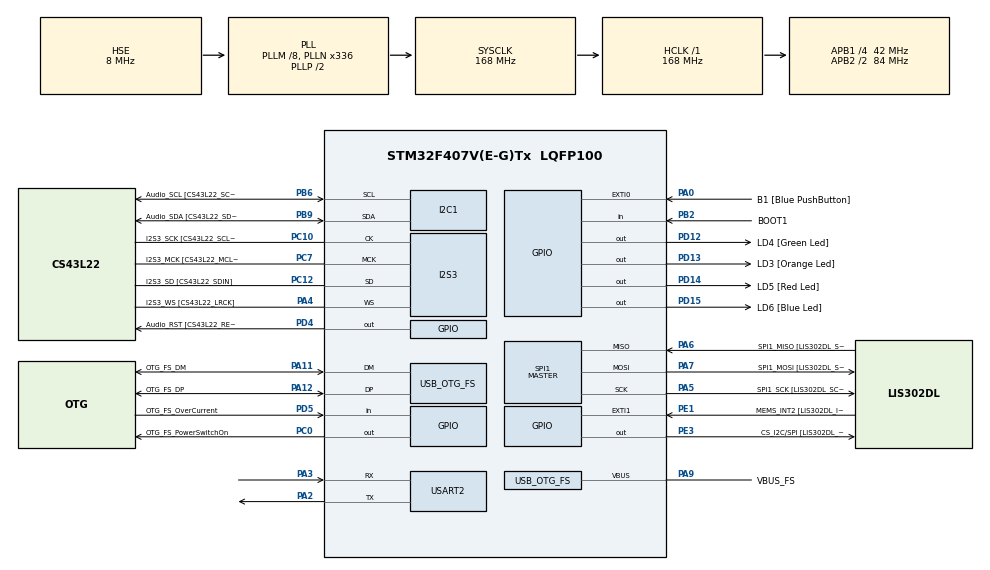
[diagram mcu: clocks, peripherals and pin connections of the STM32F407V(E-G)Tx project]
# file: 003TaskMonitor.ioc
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I2S3.AudioFreq-Half_Duplex_Master=I2S_AUDIOFREQ_96K
I2S3.ErrorAudioFreq=-2.34 %
I2S3.ErrorAudioFreq-Half_Duplex_Master=0.8 %
I2S3.FullDuplexMode=I2S_FULLDUPLEXMODE_DISABLE
I2S3.Instance=SPI$Index
I2S3.RealAudioFreq=93.75 KHz
I2S3.RealAudioFreq-Half_Duplex_Master=96.774 KHz
I2S3.VirtualMode=I2S_MODE_MASTER
Mcu.Family=STM32F4
Mcu.Name=STM32F407V(E-G)Tx
Mcu.Package=LQFP100
NVIC.OTG_FS_IRQn=true\:0\:0\:false\:false\:true\:true\:true
NVIC.PriorityGroup=NVIC_PRIORITYGROUP_4
NVIC.TIM6_DAC_IRQn=true\:0\:0\:false\:false\:true\:false\:true
NVIC.TimeBase=TIM6_DAC_IRQn
NVIC.TimeBaseIP=TIM6
PA0-WKUP.GPIO_Label=B1 [Blue PushButton]
PA0-WKUP.GPIO_ModeDefaultEXTI=GPIO_MODE_EVT_RISING
PA0-WKUP.GPIO_PuPd=GPIO_NOPULL
PA0-WKUP.Signal=GPXTI0
PA10.GPIO_Label=OTG_FS_ID
PA10.GPIO_Mode=GPIO_MODE_AF_PP
PA10.GPIO_PuPd=GPIO_NOPULL
PA10.GPIO_Speed=GPIO_SPEED_FREQ_LOW
PA10.Signal=USB_OTG_FS_ID
PA11.GPIO_Label=OTG_FS_DM
PA11.GPIO_Mode=GPIO_MODE_AF_PP
PA11.GPIO_PuPd=GPIO_NOPULL
PA11.GPIO_Speed=GPIO_SPEED_FREQ_LOW
PA11.Mode=Host_Only
PA11.Signal=USB_OTG_FS_DM
PA12.GPIO_Label=OTG_FS_DP
PA12.GPIO_Mode=GPIO_MODE_AF_PP
PA12.GPIO_PuPd=GPIO_NOPULL
PA12.GPIO_Speed=GPIO_SPEED_FREQ_LOW
PA12.Mode=Host_Only
PA12.Signal=USB_OTG_FS_DP
PA13.GPIO_Label=SWDIO
PA13.Mode=Trace_Asynchronous_SW
PA13.Signal=SYS_JTMS-SWDIO
PA14.GPIO_Label=SWCLK
PA14.Mode=Trace_Asynchronous_SW
PA14.Signal=SYS_JTCK-SWCLK
PA2.Mode=Asynchronous
PA2.Signal=USART2_TX
PA3.Mode=Asynchronous
PA3.Signal=USART2_RX
PA4.GPIO_Label=I2S3_WS [CS43L22_LRCK]
PA4.GPIO_Mode=GPIO_MODE_AF_PP
PA4.GPIO_PuPd=GPIO_NOPULL
PA4.GPIO_Speed=GPIO_SPEED_FREQ_LOW
PA4.Mode=Half_Duplex_Master
PA4.Signal=I2S3_WS
PA5.GPIO_Label=SPI1_SCK [LIS302DL_SCL/SPC]
PA5.GPIO_Mode=GPIO_MODE_AF_PP
PA5.GPIO_PuPd=GPIO_NOPULL
PA5.GPIO_Speed=GPIO_SPEED_FREQ_LOW
PA5.Mode=Full_Duplex_Master
PA5.Signal=SPI1_SCK
PA6.GPIO_Label=SPI1_MISO [LIS302DL_SDO]
PA6.GPIO_Mode=GPIO_MODE_AF_PP
PA6.GPIO_PuPd=GPIO_NOPULL
PA6.GPIO_Speed=GPIO_SPEED_FREQ_LOW
PA6.Mode=Full_Duplex_Master
PA6.Signal=SPI1_MISO
PA7.GPIO_Label=SPI1_MOSI [LIS302DL_SDA/SDI/SDO]
PA7.GPIO_Mode=GPIO_MODE_AF_PP
PA7.GPIO_PuPd=GPIO_NOPULL
PA7.GPIO_Speed=GPIO_SPEED_FREQ_LOW
PA7.Mode=Full_Duplex_Master
PA7.Signal=SPI1_MOSI
PA9.GPIO_Label=VBUS_FS
PA9.GPIO_Mode=GPIO_MODE_INPUT
PA9.GPIO_PuPd=GPIO_NOPULL
PA9.Mode=Activate_VBUS
PA9.Signal=USB_OTG_FS_VBUS
PB10.GPIO_Label=CLK_IN [MP45DT02_CLK]
PB10.GPIO_Mode=GPIO_MODE_AF_PP
PB10.GPIO_PuPd=GPIO_NOPULL
PB10.GPIO_Speed=GPIO_SPEED_FREQ_LOW
PB10.Signal=I2S2_CK
PB2.GPIO_Label=BOOT1
PB2.GPIO_Mode=GPIO_MODE_INPUT
PB2.GPIO_PuPd=GPIO_NOPULL
PB2.Signal=GPIO_Input
PB3.GPIO_Label=SWO
PB3.Mode=Trace_Asynchronous_SW
PB3.Signal=SYS_JTDO-SWO
PB6.GPIO_Label=Audio_SCL [CS43L22_SCL]
PB6.GPIO_Mode=GPIO_MODE_AF_OD
PB6.GPIO_Pu=GPIO_PULLUP
PB6.GPIO_PuPd=GPIO_NOPULL
PB6.GPIO_Speed=GPIO_SPEED_FREQ_LOW
PB6.Mode=I2C
PB6.Signal=I2C1_SCL
PB9.GPIO_Label=Audio_SDA [CS43L22_SDA]
PB9.GPIO_Mode=GPIO_MODE_AF_OD
PB9.GPIO_Pu=GPIO_PULLUP
PB9.GPIO_PuPd=GPIO_NOPULL
PB9.GPIO_Speed=GPIO_SPEED_FREQ_LOW
PB9.Mode=I2C
PB9.Signal=I2C1_SDA
PC0.GPIO_Label=OTG_FS_PowerSwitchOn
PC0.GPIO_PuPd=GPIO_NOPULL
PC0.GPIO_Speed=GPIO_SPEED_FREQ_LOW
PC0.PinState=GPIO_PIN_SET
PC0.Signal=GPIO_Output
PC10.GPIO_Label=I2S3_SCK [CS43L22_SCLK]
PC10.GPIO_Mode=GPIO_MODE_AF_PP
PC10.GPIO_PuPd=GPIO_NOPULL
PC10.GPIO_Speed=GPIO_SPEED_FREQ_LOW
PC10.Mode=Half_Duplex_Master
PC10.Signal=I2S3_CK
PC12.GPIO_Label=I2S3_SD [CS43L22_SDIN]
PC12.GPIO_Mode=GPIO_MODE_AF_PP
PC12.GPIO_PuPd=GPIO_NOPULL
PC12.GPIO_Speed=GPIO_SPEED_FREQ_LOW
PC12.Mode=Half_Duplex_Master
PC12.Signal=I2S3_SD
PC14-OSC32_IN.GPIO_Label=PC14-OSC32_IN
PC14-OSC32_IN.Mode=LSE-External-Oscillator
PC14-OSC32_IN.Signal=RCC_OSC32_IN
PC15-OSC32_OUT.GPIO_Label=PC15-OSC32_OUT
PC15-OSC32_OUT.Mode=LSE-External-Oscillator
PC15-OSC32_OUT.Signal=RCC_OSC32_OUT
PC3.GPIO_Label=PDM_OUT [MP45DT02_DOUT]
PC3.GPIO_Mode=GPIO_MODE_AF_PP
PC3.GPIO_PuPd=GPIO_NOPULL
PC3.GPIO_Speed=GPIO_SPEED_FREQ_LOW
PC3.Signal=I2S2_SD
PC7.GPIO_Label=I2S3_MCK [CS43L22_MCLK]
PC7.GPIO_Mode=GPIO_MODE_AF_PP
PC7.GPIO_PuPd=GPIO_NOPULL
PC7.GPIO_Speed=GPIO_SPEED_FREQ_LOW
PC7.Mode=Master_Clock_Activated
PC7.Signal=I2S3_MCK
PD12.GPIO_Label=LD4 [Green Led]
PD12.GPIO_PuPd=GPIO_NOPULL
PD12.GPIO_Speed=GPIO_SPEED_FREQ_LOW
PD12.Signal=GPIO_Output
PD13.GPIO_Label=LD3 [Orange Led]
PD13.GPIO_PuPd=GPIO_NOPULL
PD13.GPIO_Speed=GPIO_SPEED_FREQ_LOW
PD13.Signal=GPIO_Output
PD14.GPIO_Label=LD5 [Red Led]
PD14.GPIO_PuPd=GPIO_NOPULL
PD14.GPIO_Speed=GPIO_SPEED_FREQ_LOW
PD14.Signal=GPIO_Output
PD15.GPIO_Label=LD6 [Blue Led]
PD15.GPIO_PuPd=GPIO_NOPULL
PD15.GPIO_Speed=GPIO_SPEED_FREQ_LOW
PD15.Signal=GPIO_Output
PD4.GPIO_Label=Audio_RST [CS43L22_RESET]
PD4.GPIO_PuPd=GPIO_NOPULL
PD4.GPIO_Speed=GPIO_SPEED_FREQ_LOW
PD4.Signal=GPIO_Output
PD5.GPIO_Label=OTG_FS_OverCurrent
PD5.GPIO_Mode=GPIO_MODE_INPUT
PD5.GPIO_PuPd=GPIO_NOPULL
PD5.Signal=GPIO_Input
PE1.GPIO_Label=MEMS_INT2 [LIS302DL_INT2]
PE1.GPIO_ModeDefaultEXTI=GPIO_MODE_EVT_RISING
PE1.GPIO_PuPd=GPIO_NOPULL
PE1.Signal=GPXTI1
PE3.GPIO_Label=CS_I2C/SPI [LIS302DL_CS_I2C/SPI]
PE3.GPIO_PuPd=GPIO_NOPULL
PE3.GPIO_Speed=GPIO_SPEED_FREQ_LOW
PE3.Signal=GPIO_Output
PH0-OSC_IN.GPIO_Label=PH0-OSC_IN
PH0-OSC_IN.Mode=HSE-External-Oscillator
PH0-OSC_IN.Signal=RCC_OSC_IN
PH1-OSC_OUT.GPIO_Label=PH1-OSC_OUT
PH1-OSC_OUT.Mode=HSE-External-Oscillator
PH1-OSC_OUT.Signal=RCC_OSC_OUT
ProjectManager.HeapSize=0x200
ProjectManager.StackSize=0x400
ProjectManager.TargetToolchain=STM32CubeIDE
RCC.48MHZClocksFreq_Value=48000000
RCC.AHBFreq_Value=168000000
RCC.APB1CLKDivider=RCC_HCLK_DIV4
RCC.APB1Freq_Value=42000000
RCC.APB1TimFreq_Value=84000000
RCC.APB2CLKDivider=RCC_HCLK_DIV2
RCC.APB2Freq_Value=84000000
RCC.APB2TimFreq_Value=168000000
RCC.CortexFreq_Value=168000000
RCC.HCLKFreq_Value=168000000
RCC.HSE_VALUE=8000000
RCC.HSI_VALUE=16000000
RCC.PLLM=8
RCC.PLLN=336
RCC.PLLQ=7
RCC.SYSCLKFreq_VALUE=168000000
RCC.SYSCLKSource=RCC_SYSCLKSOURCE_PLLCLK
RCC.VCOOutputFreq_Value=336000000
SPI1.BaudRatePrescaler-Full_Duplex_Master=SPI_BAUDRATEPRESCALER_2
SPI1.CalculateBaudRate-Full_Duplex_Master=42.0 MBits/s
SPI1.Direction=SPI_DIRECTION_2LINES
SPI1.Mode=SPI_MODE_MASTER
SPI1.Mode-Full_Duplex_Master=SPI_MODE_MASTER
SPI1.VirtualType=VM_MASTER
USART2.VirtualMode=VM_ASYNC
USB_HOST.BSP.number=1
USB_HOST.USBH_HandleTypeDef-CDC_FS=hUsbHostFS
USB_HOST.VirtualModeFS=Cdc
USB_HOST0.BSP.STBoard=false
USB_HOST0.BSP.api=Unknown
USB_HOST0.BSP.i2caddr=0
USB_HOST0.BSP.i2creg=0
USB_HOST0.BSP.instance=PC0
USB_HOST0.BSP.ip=GPIO
USB_HOST0.BSP.mode=Output
USB_HOST0.BSP.name=Drive_VBUS_FS
USB_HOST0.BSP.solution=PC0
USB_OTG_FS.VirtualMode=Host_Only
USB_OTG_FS.phy_itface=HCD_PHY_EMBEDDED
VP_SYS_VS_tim6.Mode=TIM6
VP_USB_HOST_VS_USB_HOST_CDC_FS.Mode=CDC_FS
board=STM32F407G-DISC1

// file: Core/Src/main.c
/* USER CODE BEGIN Header */
/**
  ******************************************************************************
  * @file           : main.c
  * @brief          : Main program body
  ******************************************************************************
  * @attention
  *
  * Copyright (c) 2022 STMicroelectronics.
  * All rights reserved.
  *
  * This software is licensed under terms that can be found in the LICENSE file
  * in the root directory of this software component.
  * If no LICENSE file comes with this software, it is provided AS-IS.
  *
  ******************************************************************************
  */
/* USER CODE END Header */
#include "main.h"
#include "usb_host.h"

/* USER CODE BEGIN Includes */
#include "FreeRTOS.h"
#include "task.h"
#include <stdio.h>
#include <string.h>
#include <stdlib.h>
/* USER CODE END Includes */

I2C_HandleTypeDef hi2c1;

I2S_HandleTypeDef hi2s3;

SPI_HandleTypeDef hspi1;

UART_HandleTypeDef huart2;

void SystemClock_Config(void);
static void MX_GPIO_Init(void);
static void MX_I2C1_Init(void);
static void MX_I2S3_Init(void);
static void MX_SPI1_Init(void);
static void MX_USART2_UART_Init(void);
void MX_USB_HOST_Process(void);

/* USER CODE BEGIN PFP */
static void Red_LED_App(void *pvParameters);
static void Green_LED_App(void *pvParameters);
static void Delay_App(void *pvParameters);
static void TaskMonitor_App(void *pvParameters);
List_t *ReadyLists;
List_t *DelayedList;
List_t *OverflowDelayedList;

extern struct tskTCB tcb;
//static void USART_Test(void *parameter);
/* USER CODE END PFP */

/* USER CODE BEGIN 0 */
//User defined code
void Taskmonitor(void)
{
	/* Initialize string */
    char Monitor_data[130];
    memset(Monitor_data,'\0',sizeof(Monitor_data));

    /* Stop scheduler */
    /* Taskmonitor() will block when UART is transmitting data */
    /* Scheduler will change list data when Taskmonitor() is blocked */
    vTaskSuspendAll();

    /* Print title */
    sprintf(Monitor_data,"|Name      |Priority(Base/actual)  |pxStack    |pxTopOfStack    |State    |\n\r");
    HAL_UART_Transmit(&huart2,(uint8_t *)Monitor_data, strlen(Monitor_data), 0xffff);

    memset(Monitor_data,'\0',sizeof(Monitor_data));

    /* pxReadyTasksLists */
    if(listLIST_IS_EMPTY(ReadyLists) == pdFALSE)
    {

    	for (int j = 0; j < 15; j++){
    		ListItem_t *head = listGET_ITEM_OF_HEAD_ENTRY(&ReadyLists[j]);
        	for (int i = 0; i < listCURRENT_LIST_LENGTH(&ReadyLists[j]); i++){
        		struct UserTCB *tcb = getTCB_Info(head->pvOwner);
        		sprintf(Monitor_data,"|%s%7lu/%lu%31p%13p%16s|\n\r",tcb->pcTaskName, tcb->uxBasePriority, tcb->uxPriority, (void *)tcb->pxStack, (void *)tcb->pxTopOfStack, "Ready");
        		HAL_UART_Transmit(&huart2,(uint8_t *)Monitor_data, strlen(Monitor_data), 0xffff);
        		memset(Monitor_data,'\0',sizeof(Monitor_data));
        		head = head->pxNext;
        	}
    	}

    }

    /* pxDelayedTaskList*/
    if(listLIST_IS_EMPTY(DelayedList) == pdFALSE)
    {
    	ListItem_t *head = listGET_ITEM_OF_HEAD_ENTRY(DelayedList);
    	for (int i = 0; i < listCURRENT_LIST_LENGTH(DelayedList); i++){
    		struct UserTCB *tcb = getTCB_Info(head->pvOwner);
    		sprintf(Monitor_data,"|%s%7lu/%lu%29p%9p%16s|\n\r",tcb->pcTaskName, tcb->uxBasePriority, tcb->uxPriority, (void *)tcb->pxStack, (void *)tcb->pxTopOfStack, "Blocked");
    		HAL_UART_Transmit(&huart2,(uint8_t *)Monitor_data, strlen(Monitor_data), 0xffff);
    		memset(Monitor_data,'\0',sizeof(Monitor_data));
    		head = head->pxNext;
    	}
    }
    /* pxOverflowDelayedTaskList */
    if(listLIST_IS_EMPTY(OverflowDelayedList) == pdFALSE)
    {
    	ListItem_t *head = listGET_ITEM_OF_HEAD_ENTRY(OverflowDelayedList);
    	for (int i = 0; i < listCURRENT_LIST_LENGTH(OverflowDelayedList); i++){
    		struct UserTCB *tcb = getTCB_Info(head->pvOwner);
    		sprintf(Monitor_data,"|%s%7lu/%lu%31p%13p%16s|\n\r",tcb->pcTaskName, tcb->uxBasePriority, tcb->uxPriority, (void *)tcb->pxStack, (void *)tcb->pxTopOfStack, "Overflow");
    		HAL_UART_Transmit(&huart2,(uint8_t *)Monitor_data, strlen(Monitor_data), 0xffff);
    		memset(Monitor_data,'\0',sizeof(Monitor_data));
    		head = head->pxNext;
    	}
    }
    /* Resume scheduler */
    xTaskResumeAll();
}

/* USER CODE END 0 */

int main(void)
{
  /* USER CODE BEGIN 1 */

  TaskHandle_t red_handle;
  TaskHandle_t green_handle;
  TaskHandle_t delay_handle;
  TaskHandle_t monitor_handle;

  BaseType_t status;

  /* USER CODE END 1 */

  /* MCU Configuration--------------------------------------------------------*/

  /* Reset of all peripherals, Initializes the Flash interface and the Systick. */
  HAL_Init();

  /* Configure the system clock */
  SystemClock_Config();

  /* Initialize all configured peripherals */
  MX_GPIO_Init();
  MX_I2C1_Init();
  MX_I2S3_Init();
  MX_SPI1_Init();
  MX_USB_HOST_Init();
  MX_USART2_UART_Init();
  /* USER CODE BEGIN 2 */

  status = xTaskCreate(Red_LED_App, "Red_LED", 200, NULL, 1, &red_handle);
  configASSERT(status == pdPASS);
  status = xTaskCreate(Green_LED_App, "Green_LED", 200, NULL, 1, &green_handle);
  configASSERT(status == pdPASS);
  status = xTaskCreate(Delay_App, "Delay_App", 200, NULL, 14, &delay_handle);
  configASSERT(status == pdPASS);
  status = xTaskCreate(TaskMonitor_App, "TaskMonit", 200, NULL, 3, &monitor_handle);
  configASSERT(status == pdPASS);

  ReadyLists = getReadyTasksLists();
  DelayedList = getDelayedTaskList();
  OverflowDelayedList = getOverflowDelayedTaskList();
  vTaskStartScheduler();

  /* USER CODE END 2 */

  /* Infinite loop */
  while (1)
  {
    MX_USB_HOST_Process();

  }
}

void SystemClock_Config(void)
{
  RCC_OscInitTypeDef RCC_OscInitStruct = {0};
  RCC_ClkInitTypeDef RCC_ClkInitStruct = {0};

  /** Configure the main internal regulator output voltage
  */
  __HAL_RCC_PWR_CLK_ENABLE();
  __HAL_PWR_VOLTAGESCALING_CONFIG(PWR_REGULATOR_VOLTAGE_SCALE1);
  /** Initializes the RCC Oscillators according to the specified parameters
  * in the RCC_OscInitTypeDef structure.
  */
  RCC_OscInitStruct.OscillatorType = RCC_OSCILLATORTYPE_HSE;
  RCC_OscInitStruct.HSEState = RCC_HSE_ON;
  RCC_OscInitStruct.PLL.PLLState = RCC_PLL_ON;
  RCC_OscInitStruct.PLL.PLLSource = RCC_PLLSOURCE_HSE;
  RCC_OscInitStruct.PLL.PLLM = 8;
  RCC_OscInitStruct.PLL.PLLN = 336;
  RCC_OscInitStruct.PLL.PLLP = RCC_PLLP_DIV2;
  RCC_OscInitStruct.PLL.PLLQ = 7;
  if (HAL_RCC_OscConfig(&RCC_OscInitStruct) != HAL_OK)
  {
    Error_Handler();
  }
  /** Initializes the CPU, AHB and APB buses clocks
  */
  RCC_ClkInitStruct.ClockType = RCC_CLOCKTYPE_HCLK|RCC_CLOCKTYPE_SYSCLK
                              |RCC_CLOCKTYPE_PCLK1|RCC_CLOCKTYPE_PCLK2;
  RCC_ClkInitStruct.SYSCLKSource = RCC_SYSCLKSOURCE_PLLCLK;
  RCC_ClkInitStruct.AHBCLKDivider = RCC_SYSCLK_DIV1;
  RCC_ClkInitStruct.APB1CLKDivider = RCC_HCLK_DIV4;
  RCC_ClkInitStruct.APB2CLKDivider = RCC_HCLK_DIV2;

  if (HAL_RCC_ClockConfig(&RCC_ClkInitStruct, FLASH_LATENCY_5) != HAL_OK)
  {
    Error_Handler();
  }
}

static void MX_I2C1_Init(void)
{

  hi2c1.Instance = I2C1;
  hi2c1.Init.ClockSpeed = 100000;
  hi2c1.Init.DutyCycle = I2C_DUTYCYCLE_2;
  hi2c1.Init.OwnAddress1 = 0;
  hi2c1.Init.AddressingMode = I2C_ADDRESSINGMODE_7BIT;
  hi2c1.Init.DualAddressMode = I2C_DUALADDRESS_DISABLE;
  hi2c1.Init.OwnAddress2 = 0;
  hi2c1.Init.GeneralCallMode = I2C_GENERALCALL_DISABLE;
  hi2c1.Init.NoStretchMode = I2C_NOSTRETCH_DISABLE;
  if (HAL_I2C_Init(&hi2c1) != HAL_OK)
  {
    Error_Handler();
  }

}

static void MX_I2S3_Init(void)
{

  hi2s3.Instance = SPI3;
  hi2s3.Init.Mode = I2S_MODE_MASTER_TX;
  hi2s3.Init.Standard = I2S_STANDARD_PHILIPS;
  hi2s3.Init.DataFormat = I2S_DATAFORMAT_16B;
  hi2s3.Init.MCLKOutput = I2S_MCLKOUTPUT_ENABLE;
  hi2s3.Init.AudioFreq = I2S_AUDIOFREQ_96K;
  hi2s3.Init.CPOL = I2S_CPOL_LOW;
  hi2s3.Init.ClockSource = I2S_CLOCK_PLL;
  hi2s3.Init.FullDuplexMode = I2S_FULLDUPLEXMODE_DISABLE;
  if (HAL_I2S_Init(&hi2s3) != HAL_OK)
  {
    Error_Handler();
  }

}

static void MX_SPI1_Init(void)
{

  /* SPI1 parameter configuration*/
  hspi1.Instance = SPI1;
  hspi1.Init.Mode = SPI_MODE_MASTER;
  hspi1.Init.Direction = SPI_DIRECTION_2LINES;
  hspi1.Init.DataSize = SPI_DATASIZE_8BIT;
  hspi1.Init.CLKPolarity = SPI_POLARITY_LOW;
  hspi1.Init.CLKPhase = SPI_PHASE_1EDGE;
  hspi1.Init.NSS = SPI_NSS_SOFT;
  hspi1.Init.BaudRatePrescaler = SPI_BAUDRATEPRESCALER_2;
  hspi1.Init.FirstBit = SPI_FIRSTBIT_MSB;
  hspi1.Init.TIMode = SPI_TIMODE_DISABLE;
  hspi1.Init.CRCCalculation = SPI_CRCCALCULATION_DISABLE;
  hspi1.Init.CRCPolynomial = 10;
  if (HAL_SPI_Init(&hspi1) != HAL_OK)
  {
    Error_Handler();
  }

}

static void MX_USART2_UART_Init(void)
{

  huart2.Instance = USART2;
  huart2.Init.BaudRate = 115200;
  huart2.Init.WordLength = UART_WORDLENGTH_8B;
  huart2.Init.StopBits = UART_STOPBITS_1;
  huart2.Init.Parity = UART_PARITY_NONE;
  huart2.Init.Mode = UART_MODE_TX_RX;
  huart2.Init.HwFlowCtl = UART_HWCONTROL_NONE;
  huart2.Init.OverSampling = UART_OVERSAMPLING_16;
  if (HAL_UART_Init(&huart2) != HAL_OK)
  {
    Error_Handler();
  }

}

static void MX_GPIO_Init(void)
{
  GPIO_InitTypeDef GPIO_InitStruct = {0};

  /* GPIO Ports Clock Enable */
  __HAL_RCC_GPIOE_CLK_ENABLE();
  __HAL_RCC_GPIOC_CLK_ENABLE();
  __HAL_RCC_GPIOH_CLK_ENABLE();
  __HAL_RCC_GPIOA_CLK_ENABLE();
  __HAL_RCC_GPIOB_CLK_ENABLE();
  __HAL_RCC_GPIOD_CLK_ENABLE();

  /*Configure GPIO pin Output Level */
  HAL_GPIO_WritePin(CS_I2C_SPI_GPIO_Port, CS_I2C_SPI_Pin, GPIO_PIN_RESET);

  /*Configure GPIO pin Output Level */
  HAL_GPIO_WritePin(OTG_FS_PowerSwitchOn_GPIO_Port, OTG_FS_PowerSwitchOn_Pin, GPIO_PIN_SET);

  /*Configure GPIO pin Output Level */
  HAL_GPIO_WritePin(GPIOD, LD4_Pin|LD3_Pin|LD5_Pin|LD6_Pin
                          |Audio_RST_Pin, GPIO_PIN_RESET);

  /*Configure GPIO pin : CS_I2C_SPI_Pin */
  GPIO_InitStruct.Pin = CS_I2C_SPI_Pin;
  GPIO_InitStruct.Mode = GPIO_MODE_OUTPUT_PP;
  GPIO_InitStruct.Pull = GPIO_NOPULL;
  GPIO_InitStruct.Speed = GPIO_SPEED_FREQ_LOW;
  HAL_GPIO_Init(CS_I2C_SPI_GPIO_Port, &GPIO_InitStruct);

  /*Configure GPIO pin : OTG_FS_PowerSwitchOn_Pin */
  GPIO_InitStruct.Pin = OTG_FS_PowerSwitchOn_Pin;
  GPIO_InitStruct.Mode = GPIO_MODE_OUTPUT_PP;
  GPIO_InitStruct.Pull = GPIO_NOPULL;
  GPIO_InitStruct.Speed = GPIO_SPEED_FREQ_LOW;
  HAL_GPIO_Init(OTG_FS_PowerSwitchOn_GPIO_Port, &GPIO_InitStruct);

  /*Configure GPIO pin : PDM_OUT_Pin */
  GPIO_InitStruct.Pin = PDM_OUT_Pin;
  GPIO_InitStruct.Mode = GPIO_MODE_AF_PP;
  GPIO_InitStruct.Pull = GPIO_NOPULL;
  GPIO_InitStruct.Speed = GPIO_SPEED_FREQ_LOW;
  GPIO_InitStruct.Alternate = GPIO_AF5_SPI2;
  HAL_GPIO_Init(PDM_OUT_GPIO_Port, &GPIO_InitStruct);

  /*Configure GPIO pin : B1_Pin */
  GPIO_InitStruct.Pin = B1_Pin;
  GPIO_InitStruct.Mode = GPIO_MODE_EVT_RISING;
  GPIO_InitStruct.Pull = GPIO_NOPULL;
  HAL_GPIO_Init(B1_GPIO_Port, &GPIO_InitStruct);

  /*Configure GPIO pin : BOOT1_Pin */
  GPIO_InitStruct.Pin = BOOT1_Pin;
  GPIO_InitStruct.Mode = GPIO_MODE_INPUT;
  GPIO_InitStruct.Pull = GPIO_NOPULL;
  HAL_GPIO_Init(BOOT1_GPIO_Port, &GPIO_InitStruct);

  /*Configure GPIO pin : CLK_IN_Pin */
  GPIO_InitStruct.Pin = CLK_IN_Pin;
  GPIO_InitStruct.Mode = GPIO_MODE_AF_PP;
  GPIO_InitStruct.Pull = GPIO_NOPULL;
  GPIO_InitStruct.Speed = GPIO_SPEED_FREQ_LOW;
  GPIO_InitStruct.Alternate = GPIO_AF5_SPI2;
  HAL_GPIO_Init(CLK_IN_GPIO_Port, &GPIO_InitStruct);

  /*Configure GPIO pins : LD4_Pin LD3_Pin LD5_Pin LD6_Pin
                           Audio_RST_Pin */
  GPIO_InitStruct.Pin = LD4_Pin|LD3_Pin|LD5_Pin|LD6_Pin
                          |Audio_RST_Pin;
  GPIO_InitStruct.Mode = GPIO_MODE_OUTPUT_PP;
  GPIO_InitStruct.Pull = GPIO_NOPULL;
  GPIO_InitStruct.Speed = GPIO_SPEED_FREQ_LOW;
  HAL_GPIO_Init(GPIOD, &GPIO_InitStruct);

  /*Configure GPIO pin : OTG_FS_OverCurrent_Pin */
  GPIO_InitStruct.Pin = OTG_FS_OverCurrent_Pin;
  GPIO_InitStruct.Mode = GPIO_MODE_INPUT;
  GPIO_InitStruct.Pull = GPIO_NOPULL;
  HAL_GPIO_Init(OTG_FS_OverCurrent_GPIO_Port, &GPIO_InitStruct);

  /*Configure GPIO pin : MEMS_INT2_Pin */
  GPIO_InitStruct.Pin = MEMS_INT2_Pin;
  GPIO_InitStruct.Mode = GPIO_MODE_EVT_RISING;
  GPIO_InitStruct.Pull = GPIO_NOPULL;
  HAL_GPIO_Init(MEMS_INT2_GPIO_Port, &GPIO_InitStruct);

}

/* USER CODE BEGIN 4 */

void Red_LED_App(void *pvParameters){
	uint32_t Redtimer = 800;
	for(;;){
		HAL_GPIO_TogglePin(GPIOD,Red_LED_Pin);
		vTaskDelay(Redtimer);
		Redtimer+=1;
	}
}

void Green_LED_App(void *pvParameters){
	uint32_t Greentimer = 1000;
	for(;;){
		HAL_GPIO_TogglePin(GPIOD,Green_LED_Pin);
		vTaskDelay(Greentimer);
		Greentimer+=2;
	}
}

void Delay_App(void *pvParameters){
	int delayflag=0;
	uint32_t delaytime;
	while(1){
		if(delayflag==0){
			delaytime = 1000;
			delayflag=1;
		}else{
			delaytime=0xFFFFFFFF;
		}
		vTaskDelay(delaytime);
	}
}

void TaskMonitor_App(void *pvParameters){
	for(;;){
		Taskmonitor();
		vTaskDelay(1000);
	}
}

/* USER CODE END 4 */

void HAL_TIM_PeriodElapsedCallback(TIM_HandleTypeDef *htim)
{
  if (htim->Instance == TIM6) {
    HAL_IncTick();
  }
}

void Error_Handler(void)
{
  __disable_irq();
  while (1)
  {
  }
}
